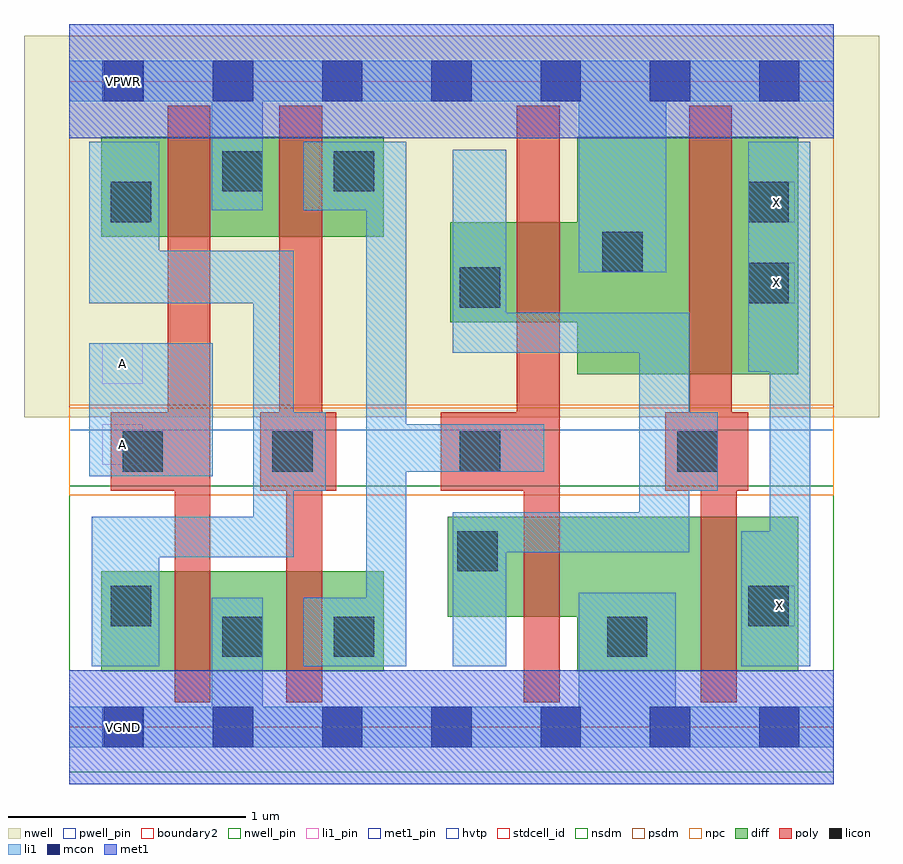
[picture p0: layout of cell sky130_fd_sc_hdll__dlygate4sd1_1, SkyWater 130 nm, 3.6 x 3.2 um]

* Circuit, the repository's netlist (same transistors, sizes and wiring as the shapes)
* Copyright 2020 The SkyWater PDK Authors
*
* Licensed under the Apache License, Version 2.0 (the "License");
* you may not use this file except in compliance with the License.
* You may obtain a copy of the License at
*
*     https://www.apache.org/licenses/LICENSE-2.0
*
* Unless required by applicable law or agreed to in writing, software
* distributed under the License is distributed on an "AS IS" BASIS,
* WITHOUT WARRANTIES OR CONDITIONS OF ANY KIND, either express or implied.
* See the License for the specific language governing permissions and
* limitations under the License.
*
* SPDX-License-Identifier: Apache-2.0

.SUBCKT sky130_fd_sc_hdll__dlygate4sd1_1 A VGND VNB VPB VPWR X
*.PININFO A:I VGND:I VNB:I VPB:I VPWR:I X:O
MMIN1 Ab net34 VGND VNB sky130_fd_pr__nfet_01v8 m=1 w=0.42U l=0.15U mult=1 sa=0.265
+ sb=0.265 sd=0.28 area=0.063 perim=1.14
MMIN2 X Ab VGND VNB sky130_fd_pr__nfet_01v8 m=1 w=0.65U l=0.15U mult=1 sa=0.265
+ sb=0.265 sd=0.28 area=0.063 perim=1.14
MI6 net34 net30 VGND VNB sky130_fd_pr__nfet_01v8 m=1 w=0.42U l=0.15U mult=1 sa=0.265
+ sb=0.265 sd=0.28 area=0.063 perim=1.14
MI9 net30 A VGND VNB sky130_fd_pr__nfet_01v8 m=1 w=0.42U l=0.15U mult=1 sa=0.265
+ sb=0.265 sd=0.28 area=0.063 perim=1.14
MMIP1 Ab net34 VPWR VPB sky130_fd_pr__pfet_01v8_hvt m=1 w=0.42U l=0.18U mult=1
+ sa=0.265 sb=0.265 sd=0.28 area=0.063 perim=1.14
MMIP2 X Ab VPWR VPB sky130_fd_pr__pfet_01v8_hvt m=1 w=1.0U l=0.18U mult=1 sa=0.265
+ sb=0.265 sd=0.28 area=0.063 perim=1.14
MI7 net34 net30 VPWR VPB sky130_fd_pr__pfet_01v8_hvt m=1 w=0.42U l=0.18U mult=1
+ sa=0.265 sb=0.265 sd=0.28 area=0.063 perim=1.14
MI8 net30 A VPWR VPB sky130_fd_pr__pfet_01v8_hvt m=1 w=0.42U l=0.18U mult=1 sa=0.265
+ sb=0.265 sd=0.28 area=0.063 perim=1.14
.ENDS sky130_fd_sc_hdll__dlygate4sd1_1

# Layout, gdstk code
import gdstk
lib = gdstk.Library(unit=1e-6, precision=1e-09)
def R(c, l, rs):  # rectangles x0, y0, x1, y1
    for r in rs: c.add(gdstk.rectangle(r[:2], r[2:], *l))
def A(c, l, x, y, w, h, nx, ny, dx, dy):  # array of equal rectangles
    R(c, l, [(x+i*dx, y+j*dy, x+i*dx+w, y+j*dy+h) for i in range(nx) for j in range(ny)])
def P(c, l, *ps):  # polygons
    for p in ps: c.add(gdstk.Polygon(p, *l))
nwell_pin = (64, 16)
nwell = (64, 20)
diff = (65, 20)
poly = (66, 20)
licon = (66, 44)
li1_pin = (67, 16)
li1 = (67, 20)
mcon = (67, 44)
met1_pin = (68, 16)
met1 = (68, 20)
hvtp = (78, 44)
stdcell_id = (81, 4)
nsdm = (93, 44)
psdm = (94, 20)
npc = (95, 20)
pwell_pin = (122, 16)
boundary2 = (236, 0)

sky130_fd_sc_hdll__dlyga = lib.new_cell('sky130_fd_sc_hdll__dlygate4sd1_1')
R(sky130_fd_sc_hdll__dlyga, nwell_pin, [(0.14,2.635,0.31,2.805)])
R(sky130_fd_sc_hdll__dlyga, nwell, [(-0.19,1.305,3.41,2.91)])
R(sky130_fd_sc_hdll__dlyga, diff, [(0.135,0.235,1.325,0.655), (0.135,2.065,1.325,2.485)])
P(sky130_fd_sc_hdll__dlyga, diff, [(3.07,2.485),(2.14,2.485),(2.14,2.125),(1.605,2.125),(1.605,1.705),(2.14,1.705),(2.14,1.485),(3.07,1.485)],
  [(3.07,0.885),(1.595,0.885),(1.595,0.465),(2.14,0.465),(2.14,0.235),(3.07,0.235)])
P(sky130_fd_sc_hdll__dlyga, poly, [(0.595,2.615),(0.415,2.615),(0.415,1.325),(0.175,1.325),(0.175,0.995),(0.445,0.995),(0.445,0.105),(0.595,0.105)],
  [(1.125,1.325),(1.065,1.325),(1.065,2.615),(0.885,2.615),(0.885,1.325),(0.805,1.325),(0.805,0.995),(0.915,0.995),(0.915,0.105),(1.065,0.105),(1.065,0.995),(1.125,0.995)],
  [(2.065,2.615),(1.885,2.615),(1.885,1.325),(1.565,1.325),(1.565,0.995),(1.915,0.995),(1.915,0.105),(2.065,0.105)],
  [(2.86,1.325),(2.79,1.325),(2.79,2.615),(2.61,2.615),(2.61,1.325),(2.51,1.325),(2.51,0.995),(2.66,0.995),(2.66,0.105),(2.81,0.105),(2.81,0.995),(2.86,0.995)])
R(sky130_fd_sc_hdll__dlyga, licon, [(0.645,0.295,0.815,0.465), (1.115,0.295,1.285,0.465), (2.265,0.295,2.435,0.465), (0.175,0.425,0.345,0.595), (2.86,0.425,3.03,0.595), (1.635,0.655,1.805,0.825), (0.225,1.075,0.395,1.245), (0.855,1.075,1.025,1.245), (1.645,1.075,1.815,1.245), (2.56,1.075,2.73,1.245), (1.645,1.765,1.815,1.935), (2.86,1.785,3.03,1.955), (2.245,1.915,2.415,2.085), (0.175,2.125,0.345,2.295), (2.86,2.125,3.03,2.295), (0.645,2.255,0.815,2.425), (1.115,2.255,1.285,2.425)])
R(sky130_fd_sc_hdll__dlyga, li1_pin, [(2.885,0.425,3.055,0.595), (0.14,1.105,0.31,1.275), (0.14,1.445,0.31,1.615), (2.885,1.785,3.055,1.955), (2.885,2.125,3.055,2.295)])
R(sky130_fd_sc_hdll__dlyga, li1, [(0.085,1.055,0.605,1.615)])
P(sky130_fd_sc_hdll__dlyga, li1, [(1.08,1.325),(0.945,1.325),(0.945,2.005),(0.38,2.005),(0.38,2.465),(0.085,2.465),(0.085,1.785),(0.775,1.785),(0.775,0.885),(0.095,0.885),(0.095,0.255),(0.38,0.255),(0.38,0.715),(0.945,0.715),(0.945,0.995),(1.08,0.995)],
  [(2,1.275),(1.42,1.275),(1.42,2.465),(0.985,2.465),(0.985,2.175),(1.25,2.175),(1.25,0.545),(0.985,0.545),(0.985,0.255),(1.42,0.255),(1.42,1.075),(2,1.075)],
  [(2.73,1.325),(2.61,1.325),(2.61,1.745),(1.84,1.745),(1.84,2.43),(1.615,2.43),(1.615,1.575),(2.4,1.575),(2.4,0.905),(1.615,0.905),(1.615,0.255),(1.84,0.255),(1.84,0.735),(2.61,0.735),(2.61,0.995),(2.73,0.995)],
  [(3.12,2.465),(2.86,2.465),(2.86,1.495),(2.95,1.495),(2.95,0.825),(2.83,0.825),(2.83,0.255),(3.12,0.255)],
  [(3.22,2.805),(0,2.805),(0,2.635),(0.6,2.635),(0.6,2.175),(0.815,2.175),(0.815,2.635),(2.145,2.635),(2.145,1.915),(2.515,1.915),(2.515,2.635),(3.22,2.635)],
  [(3.22,0.085),(2.555,0.085),(2.555,0.565),(2.145,0.565),(2.145,0.085),(0.815,0.085),(0.815,0.545),(0.6,0.545),(0.6,0.085),(0,0.085),(0,-0.085),(3.22,-0.085)])
A(sky130_fd_sc_hdll__dlyga, mcon, 0.145, -0.085, 0.17, 0.17, 7, 2, 0.46, 2.72)
R(sky130_fd_sc_hdll__dlyga, met1_pin, [(0.14,-0.085,0.31,0.085), (0.14,2.635,0.31,2.805)])
R(sky130_fd_sc_hdll__dlyga, met1, [(0,-0.24,3.22,0.24), (0,2.48,3.22,2.96)])
R(sky130_fd_sc_hdll__dlyga, hvtp, [(0,1.25,3.22,2.72)])
R(sky130_fd_sc_hdll__dlyga, stdcell_id, [(0,0,3.22,2.72)])
R(sky130_fd_sc_hdll__dlyga, nsdm, [(0,-0.19,3.22,1.015)])
R(sky130_fd_sc_hdll__dlyga, psdm, [(0,1.355,3.22,2.91)])
R(sky130_fd_sc_hdll__dlyga, npc, [(0,0.975,3.22,1.345)])
R(sky130_fd_sc_hdll__dlyga, pwell_pin, [(0.14,-0.085,0.31,0.085)])
R(sky130_fd_sc_hdll__dlyga, boundary2, [(0,0,3.22,2.72)])
sky130_fd_sc_hdll__dlyga.add(gdstk.Label('A', (0.225,1.53), layer=67, texttype=5))
sky130_fd_sc_hdll__dlyga.add(gdstk.Label('X', (2.98,2.21), layer=67, texttype=5))
sky130_fd_sc_hdll__dlyga.add(gdstk.Label('X', (2.98,1.87), layer=67, texttype=5))
sky130_fd_sc_hdll__dlyga.add(gdstk.Label('X', (2.99,0.51), layer=67, texttype=5))
sky130_fd_sc_hdll__dlyga.add(gdstk.Label('A', (0.225,1.19), layer=67, texttype=5))
sky130_fd_sc_hdll__dlyga.add(gdstk.Label('VPWR', (0.23,2.72), layer=68, texttype=5))
sky130_fd_sc_hdll__dlyga.add(gdstk.Label('VGND', (0.23,0), layer=68, texttype=5))
sky130_fd_sc_hdll__dlyga.add(gdstk.Label('VPB', (0.225,2.72), layer=64, texttype=5))
sky130_fd_sc_hdll__dlyga.add(gdstk.Label('VNB', (0.225,0), layer=64, texttype=59))
sky130_fd_sc_hdll__dlyga.add(gdstk.Label('dlygate4sd1_1', (0,0), layer=83, texttype=44))

lib.write_gds('sky130_fd_sc_hdll__dlygate4sd1_1.gds')
